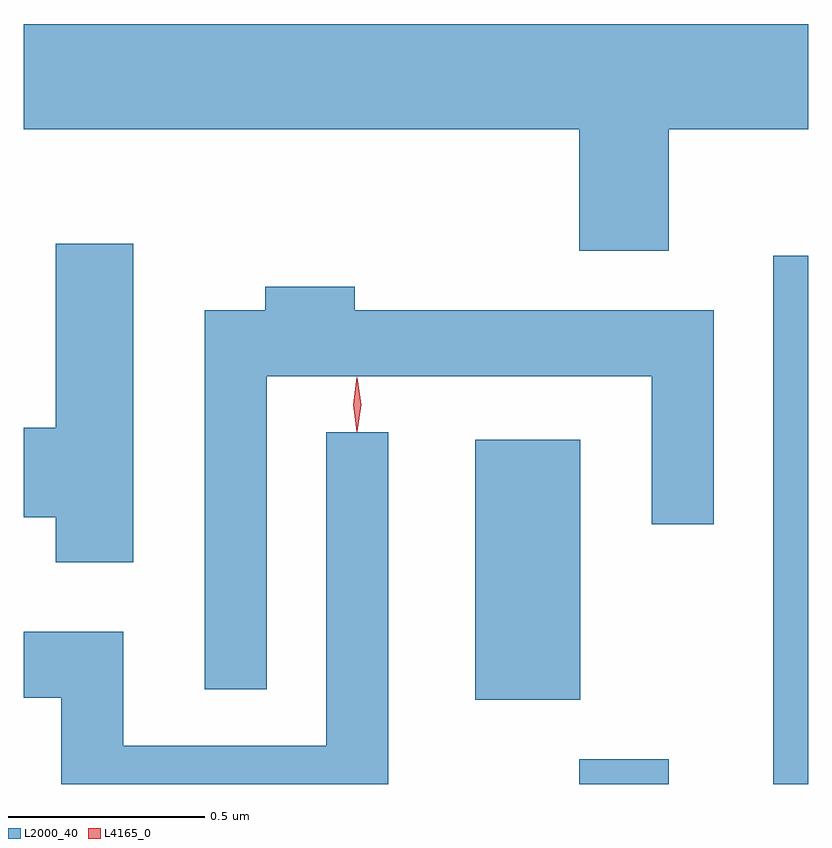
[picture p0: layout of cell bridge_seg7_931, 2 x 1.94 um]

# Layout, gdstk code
import gdstk
lib = gdstk.Library(unit=1e-6, precision=1e-09)
def R(c, l, rs):  # rectangles x0, y0, x1, y1
    for r in rs: c.add(gdstk.rectangle(r[:2], r[2:], *l))
def P(c, l, *ps):  # polygons
    for p in ps: c.add(gdstk.Polygon(p, *l))
L2000_40 = (2000, 40)
L4165_0 = (4165, 0)

bridge_seg7_931 = lib.new_cell('bridge_seg7_931')
R(bridge_seg7_931, L2000_40, [(483.031,1683.786,483.259,1683.849), (483.526,1683.786,483.615,1685.133), (482.766,1684.001,483.034,1684.664)])
P(bridge_seg7_931, L2000_40, [(483.259,1685.456),(483.615,1685.456),(483.615,1685.724),(481.615,1685.724),(481.615,1685.456),(483.031,1685.456),(483.031,1685.146),(483.259,1685.146)],
  [(481.894,1685.164),(481.696,1685.164),(481.696,1684.694),(481.615,1684.694),(481.615,1684.466),(481.696,1684.466),(481.696,1684.351),(481.894,1684.351)],
  [(482.234,1684.826),(483.216,1684.826),(483.216,1684.448),(483.374,1684.448),(483.374,1684.994),(482.459,1684.994),(482.459,1685.054),(482.231,1685.054),(482.231,1684.994),(482.076,1684.994),(482.076,1684.028),(482.234,1684.028)],
  [(482.544,1684.683),(482.386,1684.683),(482.386,1683.884),(481.869,1683.884),(481.869,1684.174),(481.615,1684.174),(481.615,1684.006),(481.711,1684.006),(481.711,1683.786),(482.544,1683.786)])
P(bridge_seg7_931, L4165_0, [(482.464,1684.684),(482.455,1684.753),(482.464,1684.823),(482.465,1684.823),(482.465,1684.823),(482.475,1684.753),(482.465,1684.684),(482.465,1684.684)])

lib.write_gds('bridge_seg7_931.gds')
